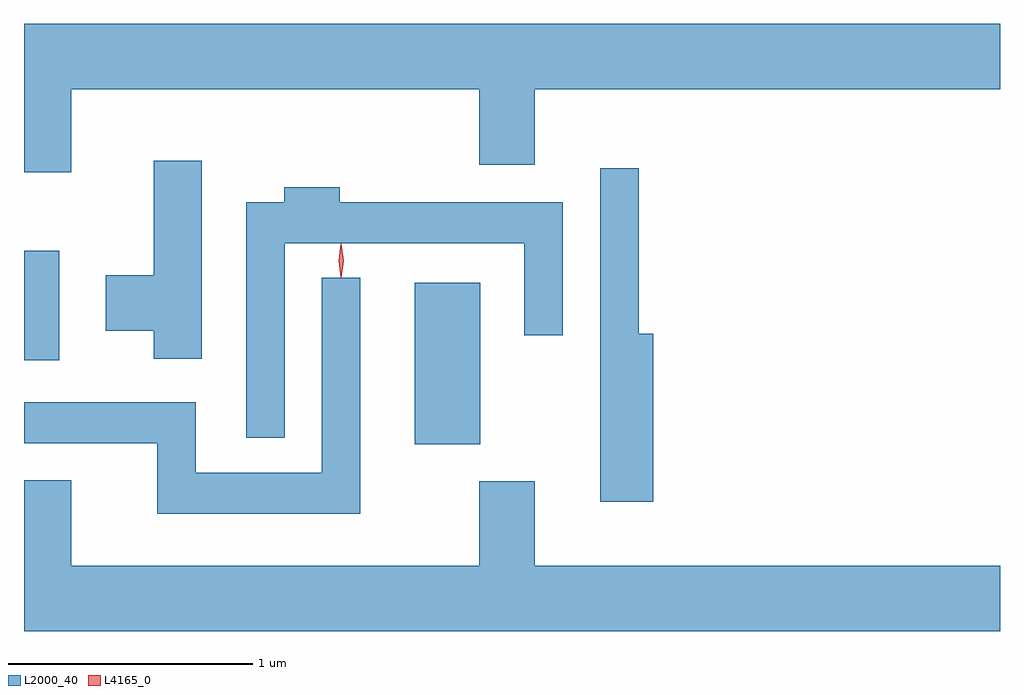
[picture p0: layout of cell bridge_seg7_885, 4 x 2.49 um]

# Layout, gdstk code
import gdstk
lib = gdstk.Library(unit=1e-6, precision=1e-09)
def R(c, l, rs):  # rectangles x0, y0, x1, y1
    for r in rs: c.add(gdstk.rectangle(r[:2], r[2:], *l))
def P(c, l, *ps):  # polygons
    for p in ps: c.add(gdstk.Polygon(p, *l))
L2000_40 = (2000, 40)
L4165_0 = (4165, 0)

bridge_seg7_885 = lib.new_cell('bridge_seg7_885')
R(bridge_seg7_885, L2000_40, [(420.606,1706.201,420.874,1706.864), (419.005,1706.546,419.149,1706.994)])
P(bridge_seg7_885, L2000_40, [(419.199,1707.656),(420.871,1707.656),(420.871,1707.346),(421.099,1707.346),(421.099,1707.656),(423.005,1707.656),(423.005,1707.924),(419.005,1707.924),(419.005,1707.316),(419.199,1707.316)],
  [(419.734,1707.364),(419.536,1707.364),(419.536,1706.894),(419.341,1706.894),(419.341,1706.666),(419.536,1706.666),(419.536,1706.551),(419.734,1706.551)],
  [(421.584,1706.654),(421.524,1706.654),(421.524,1707.333),(421.366,1707.333),(421.366,1705.966),(421.584,1705.966)],
  [(420.074,1707.026),(421.056,1707.026),(421.056,1706.648),(421.214,1706.648),(421.214,1707.194),(420.299,1707.194),(420.299,1707.254),(420.071,1707.254),(420.071,1707.194),(419.916,1707.194),(419.916,1706.228),(420.074,1706.228)],
  [(420.384,1706.883),(420.226,1706.883),(420.226,1706.084),(419.709,1706.084),(419.709,1706.374),(419.005,1706.374),(419.005,1706.206),(419.551,1706.206),(419.551,1705.916),(420.384,1705.916)],
  [(423.005,1705.704),(421.099,1705.704),(421.099,1706.049),(420.871,1706.049),(420.871,1705.704),(419.199,1705.704),(419.199,1706.054),(419.005,1706.054),(419.005,1705.436),(423.005,1705.436)])
P(bridge_seg7_885, L4165_0, [(420.304,1706.884),(420.295,1706.953),(420.304,1707.023),(420.305,1707.023),(420.305,1707.023),(420.315,1706.953),(420.305,1706.884),(420.305,1706.884)],
  [(420.304,1706.887),(420.294,1706.954),(420.304,1707.02),(420.304,1707.02),(420.305,1707.02),(420.314,1706.954),(420.305,1706.887),(420.305,1706.887)])

lib.write_gds('bridge_seg7_885.gds')
